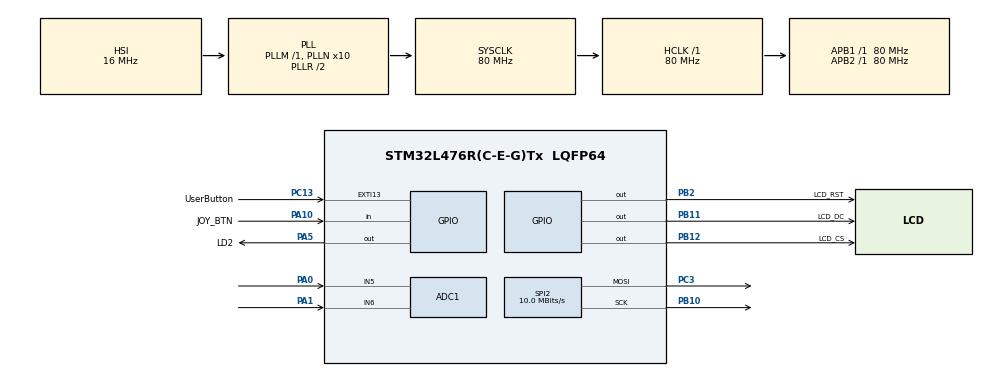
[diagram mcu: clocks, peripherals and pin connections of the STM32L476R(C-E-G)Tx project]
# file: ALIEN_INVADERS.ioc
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ADC1.Channel-2\#ChannelRegularConversion=ADC_CHANNEL_5
ADC1.Channel-3\#ChannelRegularConversion=ADC_CHANNEL_6
ADC1.ClockPrescaler=ADC_CLOCK_ASYNC_DIV8
ADC1.ContinuousConvMode=ENABLE
ADC1.DMAContinuousRequests=ENABLE
ADC1.NbrOfConversion=2
ADC1.NbrOfConversionFlag=1
ADC1.OffsetNumber-2\#ChannelRegularConversion=ADC_OFFSET_NONE
ADC1.OffsetNumber-3\#ChannelRegularConversion=ADC_OFFSET_NONE
ADC1.Rank-2\#ChannelRegularConversion=1
ADC1.Rank-3\#ChannelRegularConversion=2
ADC1.SamplingTime-2\#ChannelRegularConversion=ADC_SAMPLETIME_640CYCLES_5
ADC1.SamplingTime-3\#ChannelRegularConversion=ADC_SAMPLETIME_640CYCLES_5
ADC1.master=1
Dma.ADC1.1.Direction=DMA_PERIPH_TO_MEMORY
Dma.ADC1.1.Instance=DMA1_Channel1
Dma.ADC1.1.MemDataAlignment=DMA_MDATAALIGN_HALFWORD
Dma.ADC1.1.MemInc=DMA_MINC_ENABLE
Dma.ADC1.1.Mode=DMA_CIRCULAR
Dma.ADC1.1.PeriphDataAlignment=DMA_PDATAALIGN_HALFWORD
Dma.ADC1.1.PeriphInc=DMA_PINC_DISABLE
Dma.ADC1.1.Priority=DMA_PRIORITY_LOW
Dma.Request0=SPI2_TX
Dma.Request1=ADC1
Dma.SPI2_TX.0.Direction=DMA_MEMORY_TO_PERIPH
Dma.SPI2_TX.0.Instance=DMA1_Channel5
Dma.SPI2_TX.0.MemDataAlignment=DMA_MDATAALIGN_BYTE
Dma.SPI2_TX.0.MemInc=DMA_MINC_ENABLE
Dma.SPI2_TX.0.Mode=DMA_NORMAL
Dma.SPI2_TX.0.PeriphDataAlignment=DMA_PDATAALIGN_BYTE
Dma.SPI2_TX.0.PeriphInc=DMA_PINC_DISABLE
Dma.SPI2_TX.0.Priority=DMA_PRIORITY_LOW
Mcu.Family=STM32L4
Mcu.Name=STM32L476R(C-E-G)Tx
Mcu.Package=LQFP64
NVIC.DMA1_Channel1_IRQn=true\:0\:0\:false\:false\:true\:false\:true\:true
NVIC.DMA1_Channel5_IRQn=true\:0\:0\:false\:false\:true\:false\:true\:true
NVIC.PriorityGroup=NVIC_PRIORITYGROUP_4
PA0.Signal=ADCx_IN5
PA1.Signal=ADCx_IN6
PA10.GPIO_Label=JOY_BTN
PA10.GPIO_PuPd=GPIO_PULLUP
PA10.Signal=GPIO_Input
PA13\ (JTMS-SWDIO).GPIO_Label=TMS
PA13\ (JTMS-SWDIO).Mode=Serial_Wire
PA13\ (JTMS-SWDIO).Signal=SYS_JTMS-SWDIO
PA14\ (JTCK-SWCLK).GPIO_Label=TCK
PA14\ (JTCK-SWCLK).Mode=Serial_Wire
PA14\ (JTCK-SWCLK).Signal=SYS_JTCK-SWCLK
PA3.GPIO_Label=USART_RX
PA3.GPIO_Mode=GPIO_MODE_AF_PP
PA3.GPIO_PuPd=GPIO_NOPULL
PA3.GPIO_Speed=GPIO_SPEED_FREQ_VERY_HIGH
PA3.Signal=USART2_RX
PA5.GPIO_Label=LD2
PA5.GPIO_ModeDefaultOutputPP=GPIO_MODE_OUTPUT_PP
PA5.GPIO_PuPd=GPIO_NOPULL
PA5.GPIO_Speed=GPIO_SPEED_FREQ_LOW
PA5.Signal=GPIO_Output
PB10.Mode=TX_Only_Simplex_Unidirect_Master
PB10.Signal=SPI2_SCK
PB11.GPIO_Label=LCD_DC
PB11.Signal=GPIO_Output
PB12.GPIO_Label=LCD_CS
PB12.PinState=GPIO_PIN_SET
PB12.Signal=GPIO_Output
PB2.GPIO_Label=LCD_RST
PB2.GPIO_Speed=GPIO_SPEED_FREQ_LOW
PB2.Signal=GPIO_Output
PB3\ (JTDO-TRACESWO).GPIO_Label=SWO
PB3\ (JTDO-TRACESWO).Signal=SYS_JTDO-SWO
PC13.GPIO_Label=UserButton
PC13.GPIO_ModeDefaultEXTI=GPIO_MODE_IT_FALLING
PC13.GPIO_PuPd=GPIO_NOPULL
PC13.Signal=GPXTI13
PC14-OSC32_IN\ (PC14).Signal=RCC_OSC32_IN
PC15-OSC32_OUT\ (PC15).Signal=RCC_OSC32_OUT
PC3.Mode=TX_Only_Simplex_Unidirect_Master
PC3.Signal=SPI2_MOSI
PH0-OSC_IN\ (PH0).Mode=HSE-External-Oscillator
PH0-OSC_IN\ (PH0).Signal=RCC_OSC_IN
PH1-OSC_OUT\ (PH1).Mode=HSE-External-Oscillator
PH1-OSC_OUT\ (PH1).Signal=RCC_OSC_OUT
ProjectManager.HeapSize=0x200
ProjectManager.StackSize=0x2000
ProjectManager.TargetToolchain=STM32CubeIDE
RCC.ADCFreq_Value=64000000
RCC.AHBFreq_Value=80000000
RCC.APB1Freq_Value=80000000
RCC.APB1TimFreq_Value=80000000
RCC.APB2Freq_Value=80000000
RCC.APB2TimFreq_Value=80000000
RCC.CortexFreq_Value=80000000
RCC.HCLKFreq_Value=80000000
RCC.HSE_VALUE=8000000
RCC.HSI_VALUE=16000000
RCC.LSE_VALUE=32768
RCC.MSI_VALUE=4000000
RCC.PLLN=10
RCC.PLLSourceVirtual=RCC_PLLSOURCE_HSI
RCC.PREFETCH_ENABLE=1
RCC.SYSCLKFreq_VALUE=80000000
RCC.SYSCLKSource=RCC_SYSCLKSOURCE_PLLCLK
RCC.USBFreq_Value=64000000
RCC.VCOOutputFreq_Value=160000000
SH.ADCx_IN5.0=ADC1_IN5,IN5-Single-Ended
SH.ADCx_IN6.0=ADC1_IN6,IN6-Single-Ended
SPI2.BaudRatePrescaler=SPI_BAUDRATEPRESCALER_8
SPI2.CalculateBaudRate=10.0 MBits/s
SPI2.DataSize=SPI_DATASIZE_8BIT
SPI2.Direction=SPI_DIRECTION_2LINES
SPI2.Mode=SPI_MODE_MASTER
SPI2.NSSPMode=SPI_NSS_PULSE_DISABLE
SPI2.VirtualType=VM_MASTER
board=NUCLEO-L476RG

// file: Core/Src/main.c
/* USER CODE BEGIN Header */
/**
  ******************************************************************************
  * @file           : main.c
  * @brief          : Main program body
  ******************************************************************************
  * @attention
  *
  * Copyright (c) 2025 STMicroelectronics.
  * All rights reserved.
  *
  * This software is licensed under terms that can be found in the LICENSE file
  * in the root directory of this software component.
  * If no LICENSE file comes with this software, it is provided AS-IS.
  *
  ******************************************************************************
  */
/* USER CODE END Header */
#include "main.h"
#include "adc.h"
#include "dma.h"
#include "spi.h"
#include "gpio.h"

/* USER CODE BEGIN Includes */
#include "hagl.h"
#include "font6x9.h"
#include "rgb565.h"
#include "sprites.c"
#include <stdio.h>
#include <wchar.h>
/* USER CODE END Includes */

/* USER CODE BEGIN PD */
#define TOTAL_ENEMY_COUNT 21
/* USER CODE END PD */

/* USER CODE BEGIN PV */
char str[20];  // enough to hold int32 + sign + null terminator
wchar_t wstr[20];
/* USER CODE END PV */

void SystemClock_Config(void);

/* USER CODE BEGIN 0 */
uint16_t JOY[2];
uint16_t joy_x = 0, joy_y = 0;
uint8_t button_state;

void char_to_wchar(const char *src, wchar_t *dst, size_t max_len) {
    for (size_t i = 0; i < max_len - 1 && src[i] != '\0'; i++) {
        dst[i] = (wchar_t)src[i];
        dst[i+1] = 0; // zawsze zakończ na null
    }
}

void HAL_SPI_TxCpltCallback(SPI_HandleTypeDef *hspi)
{
	if (hspi == &hspi2)
	{
		lcd_transfer_done();
	}
}

void Read_Joystick_ADC(void)
{

	joy_x = JOY[0];

	joy_y = JOY[1];

	//joystick button state
    button_state = !HAL_GPIO_ReadPin(UserButton_GPIO_Port, UserButton_Pin);

}

void draw_image(uint8_t offset_x, uint8_t offset_y, uint8_t width, uint8_t height, uint16_t *image){
    for(uint8_t y = 0; y < height; y++){
        for(uint8_t x = 0; x < width; x++){
            uint16_t pixel = image[y * width + x];
            hagl_put_pixel(offset_x + x, offset_y + y, pixel);
        }
    }
}

/* USER CODE END 0 */

int main(void)
{

  /* MCU Configuration--------------------------------------------------------*/

  /* Reset of all peripherals, Initializes the Flash interface and the Systick. */
  HAL_Init();

  /* Configure the system clock */
  SystemClock_Config();

  /* Initialize all configured peripherals */
  MX_GPIO_Init();
  MX_DMA_Init();
  MX_SPI2_Init();
  MX_ADC1_Init();
  /* USER CODE BEGIN 2 */
  HAL_ADC_Start_DMA(&hadc1, JOY, 2);
  /* USER CODE END 2 */

  /* Infinite loop */
  /* USER CODE BEGIN WHILE */
  lcd_init();
  int8_t movement_vertical = 0;
  int8_t movement_horizontal = 0;
  uint8_t player_position = 80;
  uint8_t bullet_position_x = 0;
  uint8_t bullet_position_y = 0;
  uint8_t bullet_speed = 6;
  uint8_t enemy_bullet_position_x = 0;
  uint8_t enemy_bullet_position_y = 0;
  uint8_t enemy_bullet_speed = 2;
  uint8_t alive_enemy_count = 21;
  const uint8_t original_enemy_types[] =       { 3,  3,  3,  3,  3,  3,   3  , 1, 1, 1, 1, 1, 1, 1, 2, 2, 2, 2, 2, 2, 2};
  const uint8_t original_enemy_positions_x[] = { 10, 30, 50, 70, 90, 110, 130, 10, 30, 50, 70, 90, 110, 130, 10, 30, 50, 70, 90, 110, 130 };
  const uint8_t original_enemy_positions_y[] = { 20, 20, 20, 20, 20, 20,  20, 30, 30, 30, 30, 30, 30, 30, 40, 40, 40, 40, 40, 40, 40};
  uint8_t enemy_types[] =       { 3,  3,  3,  3,  3,  3,   3  , 1, 1, 1, 1, 1, 1, 1, 2, 2, 2, 2, 2, 2, 2};
  uint8_t enemy_positions_x[] = { 10, 30, 50, 70, 90, 110, 130, 10, 30, 50, 70, 90, 110, 130, 10, 30, 50, 70, 90, 110, 130 };
  uint8_t enemy_positions_y[] = { 20, 20, 20, 20, 20, 20,  20, 30, 30, 30, 30, 30, 30, 30, 40, 40, 40, 40, 40, 40, 40};

  uint16_t score = 0;
  uint16_t high_score = 0;
  uint8_t anim_counter = 0;
  uint8_t enemy_direction = -1;
  uint8_t enemy_change_direction = 0;
  uint8_t enemy_move_down = 0;
  uint8_t hp = 3;
  uint8_t game_over = 0;
  uint8_t lowest_enemy_position = 0;

  void restart_wave(){
	  lowest_enemy_position = 0;
	  enemy_move_down = 0;
	  enemy_direction = -1;
	  enemy_change_direction = 0;
	  anim_counter = 0;
	  alive_enemy_count = 21;
	  enemy_bullet_position_y = 0;
	  for(uint8_t i = 0; i < TOTAL_ENEMY_COUNT; i++){
		  enemy_types[i] = original_enemy_types[i];
		  enemy_positions_x[i] = original_enemy_positions_x[i];
		  enemy_positions_y[i] = original_enemy_positions_y[i];
	  }
  }
  while(HAL_GPIO_ReadPin(JOY_BTN_GPIO_Port, JOY_BTN_Pin) == GPIO_PIN_SET && HAL_GPIO_ReadPin(JOY_BTN_GPIO_Port, JOY_BTN_Pin) == GPIO_PIN_SET){
		hagl_clear_screen();
		hagl_put_text(L"Press UserButton to start", 2, 100, WHITE, font6x9);
		hagl_put_text(L"ALIEN", 62, 50, WHITE, font6x9);
		hagl_put_text(L"INVADERS", 55, 60, WHITE, font6x9);
		lcd_copy();
  }

  while (1)
  {
	  	if(HAL_GPIO_ReadPin(JOY_BTN_GPIO_Port, JOY_BTN_Pin) == GPIO_PIN_RESET || HAL_GPIO_ReadPin(JOY_BTN_GPIO_Port, JOY_BTN_Pin) == GPIO_PIN_RESET) {
	  	  HAL_GPIO_WritePin(LD2_GPIO_Port, LD2_Pin, GPIO_PIN_SET);
	  	} else {
	  	  HAL_GPIO_WritePin(LD2_GPIO_Port, LD2_Pin, GPIO_PIN_RESET);
	  	}
	    Read_Joystick_ADC();
	  	if (!lcd_is_busy()){
	  		if(game_over){
	  			hagl_clear_screen();
	  			hagl_put_text(L"GAME OVER", 50, 50, RED, font6x9);
				 sprintf(str,  "SCORE: %d", score);
				 char_to_wchar(str, wstr, 20);
				 hagl_put_text(wstr, 50, 60, RED, font6x9);
				 if(score > high_score){
					 hagl_put_text(L"NEW HIGHSCORE!", 30, 70, WHITE, font6x9);
				 }
				 hagl_put_text(L"Press UserButton to restart", 0, 100, WHITE, font6x9);
				 if(HAL_GPIO_ReadPin(UserButton_GPIO_Port, UserButton_Pin) == GPIO_PIN_RESET || HAL_GPIO_ReadPin(JOY_BTN_GPIO_Port, JOY_BTN_Pin) == GPIO_PIN_RESET) {
				  	  game_over = 0;
				  	  hp = 3;
				  	  if(score > high_score){
						high_score = score;
				  	  }
				  	  score = 0;
				  	}
				 restart_wave();
	  		}
	  		else{
	  		  if(alive_enemy_count == 0){
	  			  restart_wave();
	  		  }
	  		  if(hp==0 || lowest_enemy_position > 100){
	  			  game_over = 1;
	  		  }

			  if(enemy_change_direction){
				  enemy_direction = -enemy_direction;
				  enemy_change_direction = 0;
			  }
			  if(enemy_move_down){
				  enemy_move_down = 0;
				  for(uint8_t i = 0; i < TOTAL_ENEMY_COUNT; i++){
					  if(enemy_positions_y[i] != 0)
						  enemy_positions_y[i] += 5;
				  }
			  }
	  		  anim_counter++;
	  		  if(anim_counter > 30)
	  			  anim_counter = 0;
			  hagl_clear_screen();
//			  for (int i = 0; i < 8; i++) {
//				  hagl_draw_rounded_rectangle(2+i, 2+i, 158-i, 126-i, 8-i, rgb565(0, 0, i*16));
//			  }

			  // read user input
			  if(joy_x < 1000){
//				  sprintf(str, "up");
				  movement_vertical = 2;
			  }
			  else if(joy_x > 4000){
//				  sprintf(str, "down");
				  movement_vertical = -2;
			  }
			  else{
//				  sprintf(str, "center");
				  movement_vertical = 0;
			  }
//			  char_to_wchar(str, wstr, 20);
//			  hagl_put_text(wstr, 10, 10, RED, font6x9);
			  if(joy_y < 1000){
//				  sprintf(str, "right");
				  movement_horizontal = 2;
			  }
			  else if(joy_y > 4000){
//				  sprintf(str, "left");
				  movement_horizontal = -2;
			  }
			  else{
//				  sprintf(str, "center");
				  movement_horizontal = 0;
			  }
//			  char_to_wchar(str, wstr, 20);
//			  hagl_put_text(wstr, 10, 20, RED, font6x9);
			  sprintf(str, "SCORE: %d", score);
			  char_to_wchar(str, wstr, 20);
			  hagl_put_text(wstr, 10, 10, WHITE, font6x9);

			  sprintf(str, "HIGH SCORE: %d", high_score);
			  char_to_wchar(str, wstr, 20);
			  hagl_put_text(wstr, 70, 10, WHITE, font6x9);

			  // update player position
			  player_position += movement_horizontal;
			  if(player_position < 2)
				  player_position = 2;
			  if(player_position > 147)
				  player_position = 147;
			  draw_image(player_position, 100, 12, 12, sprite_player);

			  //update bullet position
			  if(bullet_position_y == 0){
				  bullet_position_x = player_position + 5;
				  bullet_position_y = 99;
			  }
			  bullet_position_y -= bullet_speed;

			  if(bullet_position_y < 20){
				  bullet_position_y = 0;
			  }

			  draw_image(bullet_position_x, bullet_position_y, 3, 4, sprite_bullet);

			  //update enemy bullet position
			  if(enemy_bullet_position_y == 0){
				  enemy_bullet_position_x = player_position + 5;
				  enemy_bullet_position_y = lowest_enemy_position;
		  		  lowest_enemy_position = 0;
			  }
			  enemy_bullet_position_y += enemy_bullet_speed;

			  if(enemy_bullet_position_y > 120){
				  enemy_bullet_position_y = 0;
			  }

			  draw_image(enemy_bullet_position_x, enemy_bullet_position_y, 3, 4, sprite_enemy_bullet);

			  if(((enemy_bullet_position_x - player_position) < 12 && (enemy_bullet_position_x - player_position) > 0 && (enemy_bullet_position_y - 100) < 8 && (enemy_bullet_position_y - 100) > 0)){
				  enemy_bullet_position_y = 0;
				  hp--;
			  }

			  //drawing enemies
			  for(uint8_t i = 0; i < TOTAL_ENEMY_COUNT; i++){
				  //skip if dead
				  if(enemy_positions_y[i] == 0)
					  continue;
				  //update lowest enemy position
				  if(enemy_positions_y[i] > lowest_enemy_position)
					  lowest_enemy_position = enemy_positions_y[i];
				  //detect collisions
				  if(((bullet_position_x - enemy_positions_x[i]) < 12 && (bullet_position_x - enemy_positions_x[i]) > 0 && (bullet_position_y - enemy_positions_y[i]) < 8 && (bullet_position_y - enemy_positions_y[i]) > 0)){
					  bullet_position_y = 0;
					  draw_image(enemy_positions_x[i], enemy_positions_y[i], 12, 8, sprite_explosion);
					  enemy_positions_y[i] = 0;
					  if(score < 999)
						  score++;
					  alive_enemy_count--;
					  if(alive_enemy_count == 2){
						  enemy_direction *= 2;
					  }
				  }
				  else {
					  enemy_positions_x[i] += enemy_direction;
					  if(enemy_positions_x[i] < 2){
						  enemy_positions_x[i] = 2;
						  enemy_change_direction = 1;
					  }
					  else if(enemy_positions_x[i] >= 147){
						  enemy_positions_x[i] = 147;
						  enemy_change_direction = 1;
						  enemy_move_down = 1;
					  }
					  if(enemy_types[i] == 1){
						  if(anim_counter > 5 && anim_counter < 15)
							  draw_image(enemy_positions_x[i], enemy_positions_y[i], 12, 8, sprite_crab_2);
						  else
							  draw_image(enemy_positions_x[i], enemy_positions_y[i], 12, 8, sprite_crab);
					  }
					  else if(enemy_types[i] == 2){
						  if(anim_counter > 10 && anim_counter < 20)
							  draw_image(enemy_positions_x[i], enemy_positions_y[i], 12, 8, sprite_octopus_2);
						  else
							  draw_image(enemy_positions_x[i], enemy_positions_y[i], 12, 8, sprite_octopus);
					  }
					  else{
						  if(anim_counter > 20 && anim_counter < 30)
							  draw_image(enemy_positions_x[i], enemy_positions_y[i], 12, 8, sprite_squid_2);
						  else
							  draw_image(enemy_positions_x[i], enemy_positions_y[i], 12, 8, sprite_squid);
					  }
				  }
			  }

			  //draw hp
			  if(hp > 1){
				  draw_image(10, 114, 12, 12, sprite_player);
			  }
			  if(hp > 2){
				  draw_image(30, 114, 12, 12, sprite_player);
			  }

	  		}
			  lcd_copy();
	  	}
    /* USER CODE END WHILE */

  }
}

void SystemClock_Config(void)
{
  RCC_OscInitTypeDef RCC_OscInitStruct = {0};
  RCC_ClkInitTypeDef RCC_ClkInitStruct = {0};

  /** Configure the main internal regulator output voltage
  */
  if (HAL_PWREx_ControlVoltageScaling(PWR_REGULATOR_VOLTAGE_SCALE1) != HAL_OK)
  {
    Error_Handler();
  }

  /** Initializes the RCC Oscillators according to the specified parameters
  * in the RCC_OscInitTypeDef structure.
  */
  RCC_OscInitStruct.OscillatorType = RCC_OSCILLATORTYPE_HSI;
  RCC_OscInitStruct.HSIState = RCC_HSI_ON;
  RCC_OscInitStruct.HSICalibrationValue = RCC_HSICALIBRATION_DEFAULT;
  RCC_OscInitStruct.PLL.PLLState = RCC_PLL_ON;
  RCC_OscInitStruct.PLL.PLLSource = RCC_PLLSOURCE_HSI;
  RCC_OscInitStruct.PLL.PLLM = 1;
  RCC_OscInitStruct.PLL.PLLN = 10;
  RCC_OscInitStruct.PLL.PLLP = RCC_PLLP_DIV7;
  RCC_OscInitStruct.PLL.PLLQ = RCC_PLLQ_DIV2;
  RCC_OscInitStruct.PLL.PLLR = RCC_PLLR_DIV2;
  if (HAL_RCC_OscConfig(&RCC_OscInitStruct) != HAL_OK)
  {
    Error_Handler();
  }

  /** Initializes the CPU, AHB and APB buses clocks
  */
  RCC_ClkInitStruct.ClockType = RCC_CLOCKTYPE_HCLK|RCC_CLOCKTYPE_SYSCLK
                              |RCC_CLOCKTYPE_PCLK1|RCC_CLOCKTYPE_PCLK2;
  RCC_ClkInitStruct.SYSCLKSource = RCC_SYSCLKSOURCE_PLLCLK;
  RCC_ClkInitStruct.AHBCLKDivider = RCC_SYSCLK_DIV1;
  RCC_ClkInitStruct.APB1CLKDivider = RCC_HCLK_DIV1;
  RCC_ClkInitStruct.APB2CLKDivider = RCC_HCLK_DIV1;

  if (HAL_RCC_ClockConfig(&RCC_ClkInitStruct, FLASH_LATENCY_4) != HAL_OK)
  {
    Error_Handler();
  }
}

void Error_Handler(void)
{
  __disable_irq();
  while (1)
  {
  }
}
